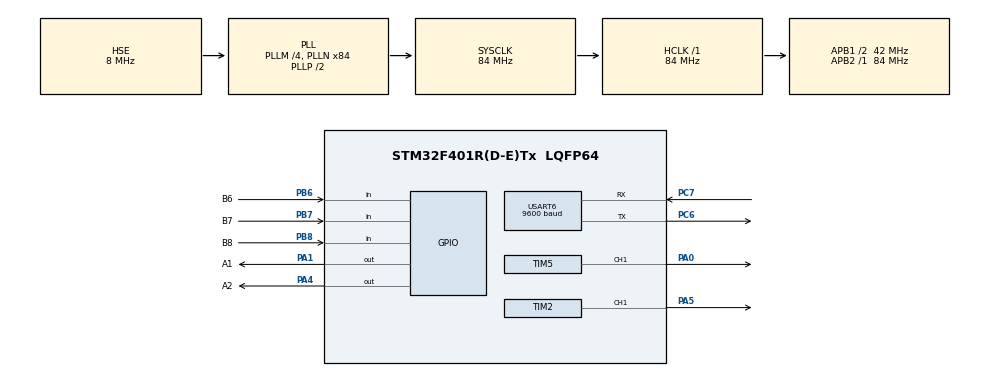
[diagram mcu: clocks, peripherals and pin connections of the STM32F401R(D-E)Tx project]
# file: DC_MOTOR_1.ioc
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Mcu.Family=STM32F4
Mcu.Name=STM32F401R(D-E)Tx
Mcu.Package=LQFP64
NVIC.PriorityGroup=NVIC_PRIORITYGROUP_4
PA0-WKUP.Signal=S_TIM5_CH1
PA1.GPIO_Label=A1
PA1.Signal=GPIO_Output
PA4.GPIO_Label=A2
PA4.Signal=GPIO_Output
PA5.Signal=S_TIM2_CH1_ETR
PB6.GPIO_Label=B6
PB6.GPIO_PuPd=GPIO_PULLUP
PB6.Signal=GPIO_Input
PB7.GPIO_Label=B7
PB7.GPIO_PuPd=GPIO_PULLUP
PB7.Signal=GPIO_Input
PB8.GPIO_Label=B8
PB8.GPIO_PuPd=GPIO_PULLUP
PB8.Signal=GPIO_Input
PC6.Mode=Asynchronous
PC6.Signal=USART6_TX
PC7.Mode=Asynchronous
PC7.Signal=USART6_RX
PH0\ -\ OSC_IN.Mode=HSE-External-Oscillator
PH0\ -\ OSC_IN.Signal=RCC_OSC_IN
PH1\ -\ OSC_OUT.Mode=HSE-External-Oscillator
PH1\ -\ OSC_OUT.Signal=RCC_OSC_OUT
ProjectManager.HeapSize=0x200
ProjectManager.StackSize=0x400
ProjectManager.TargetToolchain=STM32CubeIDE
RCC.48MHZClocksFreq_Value=42000000
RCC.AHBFreq_Value=84000000
RCC.APB1CLKDivider=RCC_HCLK_DIV2
RCC.APB1Freq_Value=42000000
RCC.APB1TimFreq_Value=84000000
RCC.APB2Freq_Value=84000000
RCC.APB2TimFreq_Value=84000000
RCC.CortexFreq_Value=84000000
RCC.HCLKFreq_Value=84000000
RCC.HSE_VALUE=8000000
RCC.HSI_VALUE=16000000
RCC.LSE_VALUE=32768
RCC.PLLM=4
RCC.PLLN=84
RCC.PLLSourceVirtual=RCC_PLLSOURCE_HSE
RCC.SYSCLKFreq_VALUE=84000000
RCC.SYSCLKSource=RCC_SYSCLKSOURCE_PLLCLK
RCC.VCOOutputFreq_Value=168000000
SH.S_TIM2_CH1_ETR.0=TIM2_CH1,PWM Generation1 CH1
SH.S_TIM5_CH1.0=TIM5_CH1,PWM Generation1 CH1
TIM2.Channel-PWM\ Generation1\ CH1=TIM_CHANNEL_1
TIM2.Period=19999
TIM2.Prescaler=83
TIM5.Channel-PWM\ Generation1\ CH1=TIM_CHANNEL_1
TIM5.Period=99
TIM5.Prescaler=8399
USART6.BaudRate=9600
USART6.VirtualMode=VM_ASYNC
board=custom

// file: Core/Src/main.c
/* USER CODE BEGIN Header */
/**
  ******************************************************************************
  * @file           : main.c
  * @brief          : Main program body
  ******************************************************************************
  * @attention
  *
  * Copyright (c) 2022 STMicroelectronics.
  * All rights reserved.
  *
  * This software is licensed under terms that can be found in the LICENSE file
  * in the root directory of this software component.
  * If no LICENSE file comes with this software, it is provided AS-IS.
  *
  ******************************************************************************
  */
/* USER CODE END Header */
#include "main.h"

/* USER CODE BEGIN Includes */
#include "stm32f4xx_hal.h"
#include "stdbool.h"
#include "stdio.h"
/* USER CODE END Includes */

 TIM_HandleTypeDef htim2;
TIM_HandleTypeDef htim5;

UART_HandleTypeDef huart6;

/* USER CODE BEGIN PV */
int i=500;
uint8_t a;
char rx_buffer[50],tx_buffer[50];
 bool goingforward,buttonone,buttontwo,buttonthree,clockwise=true;
 bool led_state=false;
/* USER CODE END PV */

void SystemClock_Config(void);
static void MX_GPIO_Init(void);
static void MX_TIM2_Init(void);
static void MX_USART6_UART_Init(void);
static void MX_TIM5_Init(void);

/* USER CODE BEGIN 0 */
int min(int a,int b);
int max(int x,int y);
/* USER CODE END 0 */

int main(void)
{

  /* MCU Configuration--------------------------------------------------------*/

  /* Reset of all peripherals, Initializes the Flash interface and the Systick. */
  HAL_Init();

  /* Configure the system clock */
  SystemClock_Config();

  /* Initialize all configured peripherals */
  MX_GPIO_Init();
  MX_TIM2_Init();
  MX_USART6_UART_Init();
  MX_TIM5_Init();
  /* USER CODE BEGIN 2 */

  HAL_GPIO_WritePin(GPIOA,A1_Pin,GPIO_PIN_SET);   // Start first motor clock wise rotation
  HAL_GPIO_WritePin(GPIOA,A2_Pin,GPIO_PIN_RESET);
  __HAL_TIM_SET_COMPARE(&htim2,TIM_CHANNEL_1,100);
  //HAL_GPIO_WritePin(GPIOA,A3_Pin,GPIO_PIN_SET);   //Start second motor clock wise rotation
  //HAL_GPIO_WritePin(GPIOA,A4_Pin,GPIO_PIN_RESET);
  HAL_TIM_Base_Start(&htim2);               //Initialize stm32 timer 3
  HAL_TIM_PWM_Start(&htim2,TIM_CHANNEL_1);
  HAL_TIM_PWM_Start(&htim5,TIM_CHANNEL_1);
  //HAL_TIM_PWM_Start(&htim2,TIM_CHANNEL_2	);  //PB1 Start pwm first motor  100% duty cycle//PB0 Start pwm second motor 100% duty cycle
  /* USER CODE END 2 */

  /* Infinite loop */
  while (1)
  {

    /* USER CODE BEGIN 3 */
	  //Change direction of motors anti clock wise
HAL_UART_Receive(&huart6, (uint8_t*)rx_buffer, 50, 500);
if(rx_buffer[0] == 'F')
{

if(!goingforward)
{
	goingforward=true;
	HAL_GPIO_TogglePin(GPIOA,A1_Pin);
	HAL_Delay(100); //Delay for 3 seconds to stop motor properly
	HAL_GPIO_TogglePin(GPIOA,A2_Pin);
}

HAL_UART_Transmit(&huart6,(uint8_t*)tx_buffer,sprintf(tx_buffer,"Led is on\n"),500);

}
else if(rx_buffer[0] == 'B')
	  {
	if(goingforward)
	{
	HAL_GPIO_TogglePin(GPIOA,A1_Pin);
	HAL_Delay(100); //Delay for 3 seconds to stop motor properly
	HAL_GPIO_TogglePin(GPIOA,A2_Pin);

	goingforward=false;
	}
	  HAL_UART_Transmit(&huart6,(uint8_t*)tx_buffer,sprintf(tx_buffer,"Led is off\n"),500);

}

else if(rx_buffer[0] == 'L')
{
	 //for (i=500;i<=2500;i++)
	//i = min(i+100,2500);

	i = min(i+200,2500);
	 //i+=200;
	//if(i>=2500)
		//  i=2500;
		__HAL_TIM_SET_COMPARE(&htim2,TIM_CHANNEL_1,i);
		  HAL_Delay(.1);

	 // }
	  if(led_state!=true)
	  HAL_UART_Transmit(&huart6,(uint8_t*)tx_buffer,sprintf(tx_buffer,"Led is on\n"),500);
	  led_state = true;
	  for(a=0;a<50;a++)
	  {
		  rx_buffer[a]=0;
	  }
}
else if(rx_buffer[0]=='R') {
	// for (i=2500;i>=500;i--)
	 // {
	  	 //i-=200;
		// i+=500;
		//if(i<=500)
			 // i=500;
	i=max(i-200,500);
		  __HAL_TIM_SET_COMPARE(&htim2,TIM_CHANNEL_1,i);
		  HAL_Delay(.01);
		  //testing
	 // }
	  if(led_state!=false)
	  HAL_UART_Transmit(&huart6,(uint8_t*)tx_buffer,sprintf(tx_buffer," Led is off\n"),500);
	  led_state = false;
	  for(a=0;a<50;a++)
	  {
		  rx_buffer[a]=0;
	  }

}
else if(rx_buffer[0]=='1') //Motor rotate at 75% duty cycle
{

	__HAL_TIM_SET_COMPARE(&htim5,TIM_CHANNEL_1,100);
	HAL_Delay(500);
	__HAL_TIM_SET_COMPARE(&htim5,TIM_CHANNEL_1,0);
	  for(a=0;a<50;a++)
	  {
		  rx_buffer[a]=0;
	  }

	//buttonone=false;
	//__HAL_TIM_SET_COMPARE(&htim2,TIM_CHANNEL_2,75); *///Second motor 75% voltage//Second motor 75% voltage

}
else if(rx_buffer[0]=='2')
	  {
	__HAL_TIM_SET_COMPARE(&htim5,TIM_CHANNEL_1,100);
	HAL_Delay(500);
	__HAL_TIM_SET_COMPARE(&htim5,TIM_CHANNEL_1,20);
	  for(a=0;a<50;a++)
	  {
		  rx_buffer[a]=0;
	  }

}
else if(rx_buffer[0]=='3')
	  {
	__HAL_TIM_SET_COMPARE(&htim5,TIM_CHANNEL_1,100);
	HAL_Delay(500);
	__HAL_TIM_SET_COMPARE(&htim5,TIM_CHANNEL_1,30);
	  for(a=0;a<50;a++)
	  {
		  rx_buffer[a]=0;
	  }

}
else if(rx_buffer[0]=='4')
	  {
	__HAL_TIM_SET_COMPARE(&htim5,TIM_CHANNEL_1,100);
	HAL_Delay(500);
	__HAL_TIM_SET_COMPARE(&htim5,TIM_CHANNEL_1,40);
	  for(a=0;a<50;a++)
	  {
		  rx_buffer[a]=0;
	  }

}
else if(rx_buffer[0]=='5')
	  {
	__HAL_TIM_SET_COMPARE(&htim5,TIM_CHANNEL_1,100);
	HAL_Delay(500);
	__HAL_TIM_SET_COMPARE(&htim5,TIM_CHANNEL_1,50);
	  for(a=0;a<50;a++)
	  {
		  rx_buffer[a]=0;
	  }

}
else if(rx_buffer[0]=='6')
	  {
	__HAL_TIM_SET_COMPARE(&htim5,TIM_CHANNEL_1,100);
	HAL_Delay(500);
	__HAL_TIM_SET_COMPARE(&htim5,TIM_CHANNEL_1,60);
	  for(a=0;a<50;a++)
	  {
		  rx_buffer[a]=0;
	  }

}
else if(rx_buffer[0]=='7')
	  {
	__HAL_TIM_SET_COMPARE(&htim5,TIM_CHANNEL_1,100);
	HAL_Delay(500);
	__HAL_TIM_SET_COMPARE(&htim5,TIM_CHANNEL_1,70);
	  for(a=0;a<50;a++)
	  {
		  rx_buffer[a]=0;
	  }

}
else if(rx_buffer[0]=='8')
	  {
	__HAL_TIM_SET_COMPARE(&htim5,TIM_CHANNEL_1,100);
	HAL_Delay(500);
	__HAL_TIM_SET_COMPARE(&htim5,TIM_CHANNEL_1,80);
	  for(a=0;a<50;a++)
	  {
		  rx_buffer[a]=0;
	  }

}
else if(rx_buffer[0]=='9')
	  {
	__HAL_TIM_SET_COMPARE(&htim5,TIM_CHANNEL_1,100);
	HAL_Delay(500);
	__HAL_TIM_SET_COMPARE(&htim5,TIM_CHANNEL_1,90);
	  for(a=0;a<50;a++)
	  {
		  rx_buffer[a]=0;
	  }

}
else if(rx_buffer[0]=='q')
	  {
	__HAL_TIM_SET_COMPARE(&htim5,TIM_CHANNEL_1,100);
	HAL_Delay(500);
	  for(a=0;a<50;a++)
	  {
		  rx_buffer[a]=0;
	  }

	  }

//__HAL_TIM_SET_COMPARE(&htim2,TIM_CHANNEL_1,100);
/*
if(clockwise){
	//HAL_Delay(3000); //Delay for 3 seconds to stop motor properly
	//HAL_GPIO_TogglePin(GPIOA,A1_Pin);
	__HAL_TIM_SET_COMPARE(&htim2,TIM_CHANNEL_1,0);
	//clockwise = false;
}
else
{
	//HAL_Delay(3000); //Delay for 3 seconds to stop motor properly
	//HAL_GPIO_TogglePin(GPIOA,A2_Pin);
	__HAL_TIM_SET_COMPARE(&htim2,TIM_CHANNEL_1,100);
	//clockwise = true;
}
*/

if(HAL_GPIO_ReadPin(B8_GPIO_Port,B8_Pin)&&buttonone) //Motor rotate at 75% duty cycle
{
	/*__HAL_TIM_SET_COMPARE(&htim2,TIM_CHANNEL_1,100);
	HAL_Delay(1000);*/
	__HAL_TIM_SET_COMPARE(&htim5,TIM_CHANNEL_1,100);
	buttonone=false;
			//__HAL_TIM_SET_COMPARE(&htim2,TIM_CHANNEL_2,75); //Second motor 75% voltage//Second motor 75% voltage

}
else if(HAL_GPIO_ReadPin(B8_GPIO_Port, B8_Pin)==GPIO_PIN_RESET)
	  {
buttonone=true;

}
if(HAL_GPIO_ReadPin(B7_GPIO_Port,B7_Pin)&&buttontwo) //Motor rotate at 50% duty cycle
		{
			__HAL_TIM_SET_COMPARE(&htim5,TIM_CHANNEL_1,0);
			buttontwo=false;//Second motor 50% voltage
			//__HAL_TIM_SET_COMPARE(&htim2,TIM_CHANNEL_2,50); //Second motor 50% voltage
		}
else if(HAL_GPIO_ReadPin(B7_GPIO_Port, B7_Pin)==GPIO_PIN_RESET)
	  {
buttontwo=true;

}

if(HAL_GPIO_ReadPin(B6_GPIO_Port,B6_Pin)&&buttonthree) //Motor rotate at 25% duty cycle
		{
			__HAL_TIM_SET_COMPARE(&htim5,TIM_CHANNEL_1,100);
			HAL_Delay(1000);
			__HAL_TIM_SET_COMPARE(&htim5,TIM_CHANNEL_1,25);
			buttonthree=false;//Second motor 25% voltage
			//__HAL_TIM_SET_COMPARE(&htim2,TIM_CHANNEL_2,25); //Second motor 25% voltage
		}
else if(HAL_GPIO_ReadPin(B6_GPIO_Port, B6_Pin)==GPIO_PIN_RESET)
	  {
buttonthree=true;

}
  }
  /* USER CODE END 3 */
}

void SystemClock_Config(void)
{
  RCC_OscInitTypeDef RCC_OscInitStruct = {0};
  RCC_ClkInitTypeDef RCC_ClkInitStruct = {0};

  /** Configure the main internal regulator output voltage
  */
  __HAL_RCC_PWR_CLK_ENABLE();
  __HAL_PWR_VOLTAGESCALING_CONFIG(PWR_REGULATOR_VOLTAGE_SCALE2);

  /** Initializes the RCC Oscillators according to the specified parameters
  * in the RCC_OscInitTypeDef structure.
  */
  RCC_OscInitStruct.OscillatorType = RCC_OSCILLATORTYPE_HSE;
  RCC_OscInitStruct.HSEState = RCC_HSE_ON;
  RCC_OscInitStruct.PLL.PLLState = RCC_PLL_ON;
  RCC_OscInitStruct.PLL.PLLSource = RCC_PLLSOURCE_HSE;
  RCC_OscInitStruct.PLL.PLLM = 4;
  RCC_OscInitStruct.PLL.PLLN = 84;
  RCC_OscInitStruct.PLL.PLLP = RCC_PLLP_DIV2;
  RCC_OscInitStruct.PLL.PLLQ = 4;
  if (HAL_RCC_OscConfig(&RCC_OscInitStruct) != HAL_OK)
  {
    Error_Handler();
  }

  /** Initializes the CPU, AHB and APB buses clocks
  */
  RCC_ClkInitStruct.ClockType = RCC_CLOCKTYPE_HCLK|RCC_CLOCKTYPE_SYSCLK
                              |RCC_CLOCKTYPE_PCLK1|RCC_CLOCKTYPE_PCLK2;
  RCC_ClkInitStruct.SYSCLKSource = RCC_SYSCLKSOURCE_PLLCLK;
  RCC_ClkInitStruct.AHBCLKDivider = RCC_SYSCLK_DIV1;
  RCC_ClkInitStruct.APB1CLKDivider = RCC_HCLK_DIV2;
  RCC_ClkInitStruct.APB2CLKDivider = RCC_HCLK_DIV1;

  if (HAL_RCC_ClockConfig(&RCC_ClkInitStruct, FLASH_LATENCY_2) != HAL_OK)
  {
    Error_Handler();
  }
}

static void MX_TIM2_Init(void)
{

  TIM_MasterConfigTypeDef sMasterConfig = {0};
  TIM_OC_InitTypeDef sConfigOC = {0};

  htim2.Instance = TIM2;
  htim2.Init.Prescaler = 83;
  htim2.Init.CounterMode = TIM_COUNTERMODE_UP;
  htim2.Init.Period = 19999;
  htim2.Init.ClockDivision = TIM_CLOCKDIVISION_DIV1;
  htim2.Init.AutoReloadPreload = TIM_AUTORELOAD_PRELOAD_DISABLE;
  if (HAL_TIM_PWM_Init(&htim2) != HAL_OK)
  {
    Error_Handler();
  }
  sMasterConfig.MasterOutputTrigger = TIM_TRGO_RESET;
  sMasterConfig.MasterSlaveMode = TIM_MASTERSLAVEMODE_DISABLE;
  if (HAL_TIMEx_MasterConfigSynchronization(&htim2, &sMasterConfig) != HAL_OK)
  {
    Error_Handler();
  }
  sConfigOC.OCMode = TIM_OCMODE_PWM1;
  sConfigOC.Pulse = 0;
  sConfigOC.OCPolarity = TIM_OCPOLARITY_HIGH;
  sConfigOC.OCFastMode = TIM_OCFAST_DISABLE;
  if (HAL_TIM_PWM_ConfigChannel(&htim2, &sConfigOC, TIM_CHANNEL_1) != HAL_OK)
  {
    Error_Handler();
  }
  HAL_TIM_MspPostInit(&htim2);

}

static void MX_TIM5_Init(void)
{

  TIM_MasterConfigTypeDef sMasterConfig = {0};
  TIM_OC_InitTypeDef sConfigOC = {0};

  htim5.Instance = TIM5;
  htim5.Init.Prescaler = 8399;
  htim5.Init.CounterMode = TIM_COUNTERMODE_UP;
  htim5.Init.Period = 99;
  htim5.Init.ClockDivision = TIM_CLOCKDIVISION_DIV1;
  htim5.Init.AutoReloadPreload = TIM_AUTORELOAD_PRELOAD_DISABLE;
  if (HAL_TIM_PWM_Init(&htim5) != HAL_OK)
  {
    Error_Handler();
  }
  sMasterConfig.MasterOutputTrigger = TIM_TRGO_RESET;
  sMasterConfig.MasterSlaveMode = TIM_MASTERSLAVEMODE_DISABLE;
  if (HAL_TIMEx_MasterConfigSynchronization(&htim5, &sMasterConfig) != HAL_OK)
  {
    Error_Handler();
  }
  sConfigOC.OCMode = TIM_OCMODE_PWM1;
  sConfigOC.Pulse = 0;
  sConfigOC.OCPolarity = TIM_OCPOLARITY_HIGH;
  sConfigOC.OCFastMode = TIM_OCFAST_DISABLE;
  if (HAL_TIM_PWM_ConfigChannel(&htim5, &sConfigOC, TIM_CHANNEL_1) != HAL_OK)
  {
    Error_Handler();
  }
  HAL_TIM_MspPostInit(&htim5);

}

static void MX_USART6_UART_Init(void)
{

  huart6.Instance = USART6;
  huart6.Init.BaudRate = 9600;
  huart6.Init.WordLength = UART_WORDLENGTH_8B;
  huart6.Init.StopBits = UART_STOPBITS_1;
  huart6.Init.Parity = UART_PARITY_NONE;
  huart6.Init.Mode = UART_MODE_TX_RX;
  huart6.Init.HwFlowCtl = UART_HWCONTROL_NONE;
  huart6.Init.OverSampling = UART_OVERSAMPLING_16;
  if (HAL_UART_Init(&huart6) != HAL_OK)
  {
    Error_Handler();
  }

}

static void MX_GPIO_Init(void)
{
  GPIO_InitTypeDef GPIO_InitStruct = {0};

  /* GPIO Ports Clock Enable */
  __HAL_RCC_GPIOH_CLK_ENABLE();
  __HAL_RCC_GPIOA_CLK_ENABLE();
  __HAL_RCC_GPIOC_CLK_ENABLE();
  __HAL_RCC_GPIOB_CLK_ENABLE();

  /*Configure GPIO pin Output Level */
  HAL_GPIO_WritePin(GPIOA, A1_Pin|A2_Pin, GPIO_PIN_RESET);

  /*Configure GPIO pins : A1_Pin A2_Pin */
  GPIO_InitStruct.Pin = A1_Pin|A2_Pin;
  GPIO_InitStruct.Mode = GPIO_MODE_OUTPUT_PP;
  GPIO_InitStruct.Pull = GPIO_NOPULL;
  GPIO_InitStruct.Speed = GPIO_SPEED_FREQ_LOW;
  HAL_GPIO_Init(GPIOA, &GPIO_InitStruct);

  /*Configure GPIO pins : B6_Pin B7_Pin B8_Pin */
  GPIO_InitStruct.Pin = B6_Pin|B7_Pin|B8_Pin;
  GPIO_InitStruct.Mode = GPIO_MODE_INPUT;
  GPIO_InitStruct.Pull = GPIO_PULLUP;
  HAL_GPIO_Init(GPIOB, &GPIO_InitStruct);

}

/* USER CODE BEGIN 4 */
int min(int a,int b)
{
	return (a>b)?b:a;
}
int max(int x,int y)
{
	return (x<y)?y:x;
}
/* USER CODE END 4 */

void Error_Handler(void)
{
  __disable_irq();
  while (1)
  {
  }
}
